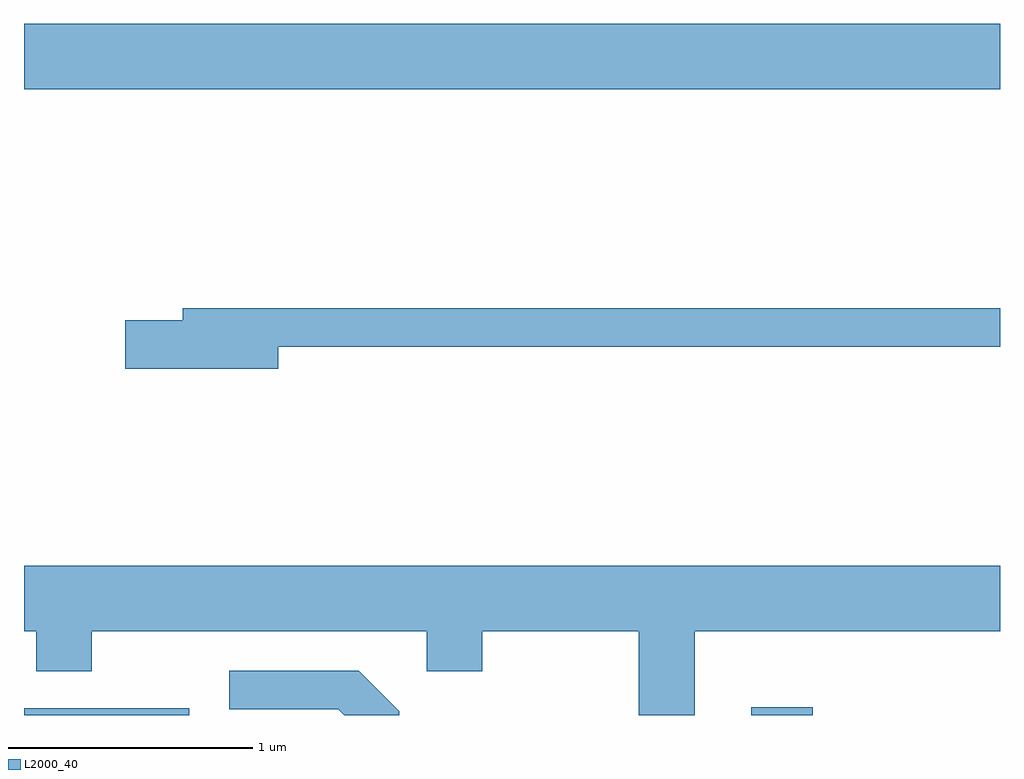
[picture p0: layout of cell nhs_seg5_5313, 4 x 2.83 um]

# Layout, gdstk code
import gdstk
lib = gdstk.Library(unit=1e-6, precision=1e-09)
def R(c, l, rs):  # rectangles x0, y0, x1, y1
    for r in rs: c.add(gdstk.rectangle(r[:2], r[2:], *l))
def P(c, l, *ps):  # polygons
    for p in ps: c.add(gdstk.Polygon(p, *l))
L2000_40 = (2000, 40)

nhs_seg5_5313 = lib.new_cell('nhs_seg5_5313')
R(nhs_seg5_5313, L2000_40, [(343.611,1392.072,344.289,1392.099), (346.591,1392.072,346.844,1392.104), (343.611,1394.636,347.611,1394.904)])
P(nhs_seg5_5313, L2000_40, [(344.654,1393.581),(347.611,1393.581),(347.611,1393.739),(344.261,1393.739),(344.261,1393.689),(344.026,1393.689),(344.026,1393.491),(344.654,1393.491)],
  [(346.359,1392.416),(347.611,1392.416),(347.611,1392.684),(343.611,1392.684),(343.611,1392.416),(343.661,1392.416),(343.661,1392.251),(343.889,1392.251),(343.889,1392.416),(345.261,1392.416),(345.261,1392.251),(345.489,1392.251),(345.489,1392.416),(346.131,1392.416),(346.131,1392.072),(346.359,1392.072)],
  [(345.149,1392.087),(344.982,1392.254),(344.453,1392.254),(344.453,1392.096),(344.899,1392.096),(344.923,1392.072),(345.149,1392.072)])

lib.write_gds('nhs_seg5_5313.gds')
